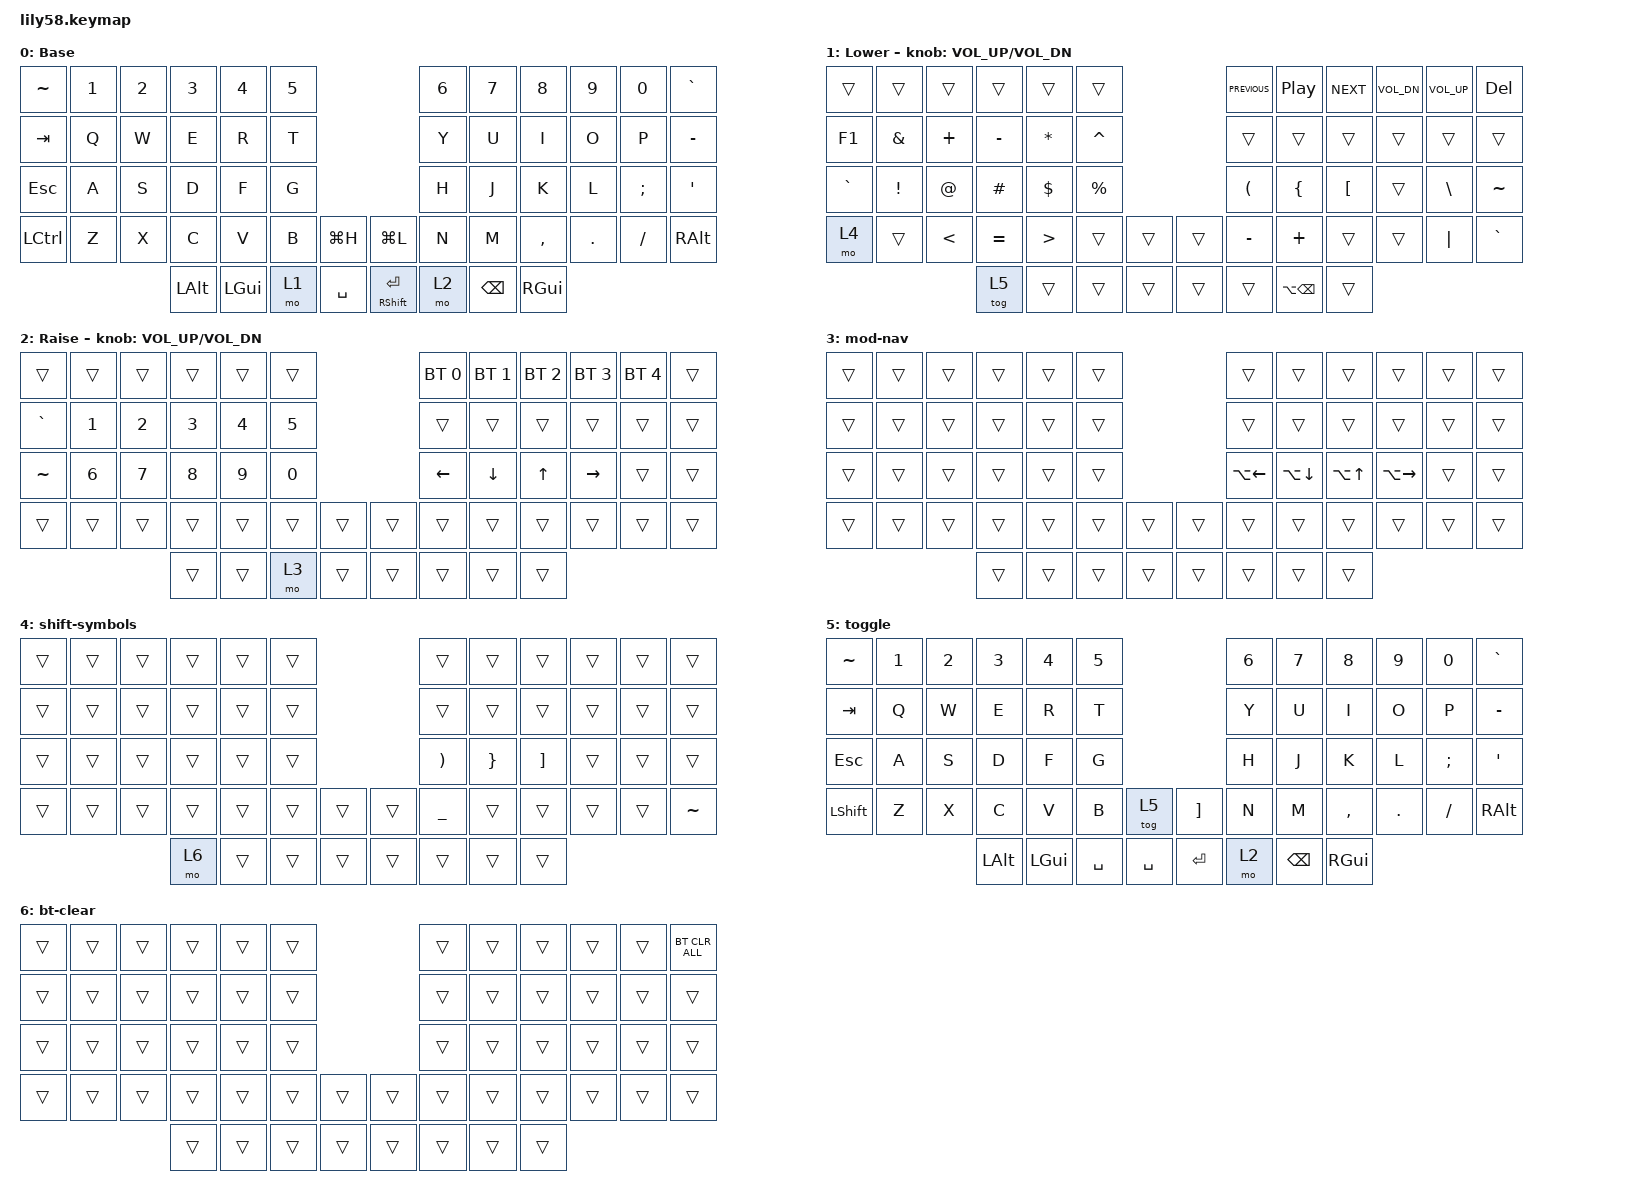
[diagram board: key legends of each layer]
/*
 * Copyright (c) 2020 The ZMK Contributors
 *
 * SPDX-License-Identifier: MIT
 */

#include <behaviors.dtsi>
#include <dt-bindings/zmk/bt.h>
#include <dt-bindings/zmk/keys.h>

/ {
    keymap {
        compatible = "zmk,keymap";

        base-layer {
            // ------------------------------------------------------------------------------------------------------------
            // |  ESC  |  1  |  2  |  3   |  4   |  5   |                   |  6   |  7    |  8    |  9   |   0   |   `   |
            // |  TAB  |  Q  |  W  |  E   |  R   |  T   |                   |  Y   |  U    |  I    |  O   |   P   |   -   |
            // |  CTRL |  A  |  S  |  D   |  F   |  G   |                   |  H   |  J    |  K    |  L   |   ;   |   '   |
            // | SHIFT |  Z  |  X  |  C   |  V   |  B   |   "["  |  |  "]"  |  N   |  M    |  ,    |  .   |   /   | SHIFT |
            //                     | ALT  | GUI  | LOWER|  SPACE |  | ENTER | RAISE| BSPC  | GUI   |

            label = "Base";
            bindings = <
&kp TILDE   &kp NUMBER_1  &kp N2  &kp N3    &kp N4    &kp N5                                      &kp N6  &kp N7    &kp N8     &kp N9   &kp N0    &kp GRAVE
&kp TAB     &kp Q         &kp W   &kp E     &kp R     &kp T                                       &kp Y   &kp U     &kp I      &kp O    &kp P     &kp MINUS
&kp ESCAPE  &kp A         &kp S   &kp D     &kp F     &kp G                                       &kp H   &kp J     &kp K      &kp L    &kp SEMI  &kp SQT
&kp LCTRL   &kp Z         &kp X   &kp C     &kp V     &kp B   &kp LG(H)    &kp LG(L)              &kp N   &kp M     &kp COMMA  &kp DOT  &kp FSLH  &kp RIGHT_ALT
                                  &kp LALT  &kp LGUI  &mo 1   &kp SPACE    &mt RIGHT_SHIFT ENTER  &mo 2   &kp BSPC  &kp RGUI
            >;
        };

        symbol-layer {
            // ------------------------------------------------------------------------------------------------------------
            // | BTCLR | BT1 | BT2 |  BT3 |  BT4 |  BT5 |                   |      |       |       |      |       |       |
            // |  F1   |  F2 |  F3 |  F4  |  F5  |  F6  |                   |  F7  |  F8   |  F9   |  F10 |  F11  |  F12  |
            // |   `   |  !  |  @  |  #   |  $   |  %   |                   |  ^   |  &    |  *    |  (   |   )   |   ~   |
            // |       |     |     |      |      |      |        |  |       |      |  _    |  +    |  {   |   }   |  "|"  |
            //                     |      |      |      |        |  |       |      |       |       |

            label = "Lower";
            bindings = <
&trans     &trans         &trans         &trans     &trans            &trans                       &kp C_PREVIOUS  &kp C_PP           &kp C_NEXT  &kp C_VOL_DN  &kp C_VOLUME_UP  &kp DELETE
&kp F1     &kp AMPERSAND  &kp PLUS       &kp MINUS  &kp ASTERISK      &kp CARET                    &trans          &trans             &trans      &trans        &trans           &trans
&kp GRAVE  &kp EXCL       &kp AT         &kp HASH   &kp DOLLAR        &kp PRCNT                    &kp LPAR        &kp LBRC           &kp LBKT    &trans        &kp BACKSLASH    &kp TILDE
&mo 4      &trans         &kp LESS_THAN  &kp EQUAL  &kp GREATER_THAN  &trans     &trans    &trans  &kp MINUS       &kp PLUS           &trans      &trans        &kp PIPE         &kp GRAVE
                                         &tog 5     &trans            &trans     &trans    &trans  &trans          &kp LA(BACKSPACE)  &trans
            >;

            sensor-bindings = <&inc_dec_kp C_VOL_UP C_VOL_DN>;
        };

        nav-layer {
            // ------------------------------------------------------------------------------------------------------------
            // |       |     |     |      |      |      |                   |      |       |       |      |       |       |
            // |   `   |  1  |  2  |  3   |  4   |  5   |                   |  6   |   7   |   8   |  9   |   0   |       |
            // |   F1  |  F2 |  F3 |  F4  |  F5  |  F6  |                   |      |   <-  |   v   |  ^   |  ->   |       |
            // |   F7  |  F8 |  F9 |  F10 |  F11 |  F12 |        |  |       |  +   |   -   |   =   |  [   |   ]   |   \   |
            //                     |      |      |      |        |  |       |      |       |       |

            label = "Raise";
            bindings = <
&trans     &trans        &trans  &trans  &trans  &trans                    &bt BT_SEL 0  &bt BT_SEL 1  &bt BT_SEL 2  &bt BT_SEL 3  &bt BT_SEL 4  &trans
&kp GRAVE  &kp N1        &kp N2  &kp N3  &kp N4  &kp N5                    &trans        &trans        &trans        &trans        &trans        &trans
&kp TILDE  &kp NUMBER_6  &kp N7  &kp N8  &kp N9  &kp N0                    &kp LEFT      &kp DOWN      &kp UP        &kp RIGHT     &trans        &trans
&trans     &trans        &trans  &trans  &trans  &trans  &trans    &trans  &trans        &trans        &trans        &trans        &trans        &trans
                                 &trans  &trans  &mo 3   &trans    &trans  &trans        &trans        &trans
            >;

            sensor-bindings = <&inc_dec_kp C_VOL_UP C_VOL_DN>;
        };

        mod-nav {
            bindings = <
&trans  &trans  &trans  &trans  &trans  &trans                    &trans              &trans              &trans            &trans               &trans  &trans
&trans  &trans  &trans  &trans  &trans  &trans                    &trans              &trans              &trans            &trans               &trans  &trans
&trans  &trans  &trans  &trans  &trans  &trans                    &kp LA(LEFT_ARROW)  &kp LA(DOWN_ARROW)  &kp LA(UP_ARROW)  &kp LA(RIGHT_ARROW)  &trans  &trans
&trans  &trans  &trans  &trans  &trans  &trans  &trans    &trans  &trans              &trans              &trans            &trans               &trans  &trans
                        &trans  &trans  &trans  &trans    &trans  &trans              &trans              &trans
            >;
        };

        shift-symbols {
            bindings = <
&trans  &trans  &trans  &trans  &trans  &trans                    &trans                 &trans           &trans             &trans  &trans  &trans
&trans  &trans  &trans  &trans  &trans  &trans                    &trans                 &trans           &trans             &trans  &trans  &trans
&trans  &trans  &trans  &trans  &trans  &trans                    &kp RIGHT_PARENTHESIS  &kp RIGHT_BRACE  &kp RIGHT_BRACKET  &trans  &trans  &trans
&trans  &trans  &trans  &trans  &trans  &trans  &trans    &trans  &kp UNDER              &trans           &trans             &trans  &trans  &kp TILDE
                        &mo 6   &trans  &trans  &trans    &trans  &trans                 &trans           &trans
            >;
        };

        Gaming {
            label = "toggle";
            bindings = <
&kp TILDE       &kp NUMBER_1  &kp N2  &kp N3    &kp N4    &kp N5                            &kp N6  &kp N7    &kp N8     &kp N9   &kp N0    &kp GRAVE
&kp TAB         &kp Q         &kp W   &kp E     &kp R     &kp T                             &kp Y   &kp U     &kp I      &kp O    &kp P     &kp MINUS
&kp ESCAPE      &kp A         &kp S   &kp D     &kp F     &kp G                             &kp H   &kp J     &kp K      &kp L    &kp SEMI  &kp SQT
&kp LEFT_SHIFT  &kp Z         &kp X   &kp C     &kp V     &kp B      &tog 5       &kp RBKT  &kp N   &kp M     &kp COMMA  &kp DOT  &kp FSLH  &kp RIGHT_ALT
                                      &kp LALT  &kp LGUI  &kp SPACE  &kp SPACE    &kp RET   &mo 2   &kp BSPC  &kp RGUI
            >;
        };

        bt-clear {
            bindings = <
&trans  &trans  &trans  &trans  &trans  &trans                    &trans  &trans  &trans  &trans  &trans  &bt BT_CLR_ALL
&trans  &trans  &trans  &trans  &trans  &trans                    &trans  &trans  &trans  &trans  &trans  &trans
&trans  &trans  &trans  &trans  &trans  &trans                    &trans  &trans  &trans  &trans  &trans  &trans
&trans  &trans  &trans  &trans  &trans  &trans  &trans    &trans  &trans  &trans  &trans  &trans  &trans  &trans
                        &trans  &trans  &trans  &trans    &trans  &trans  &trans  &trans
            >;
        };
    };
};
